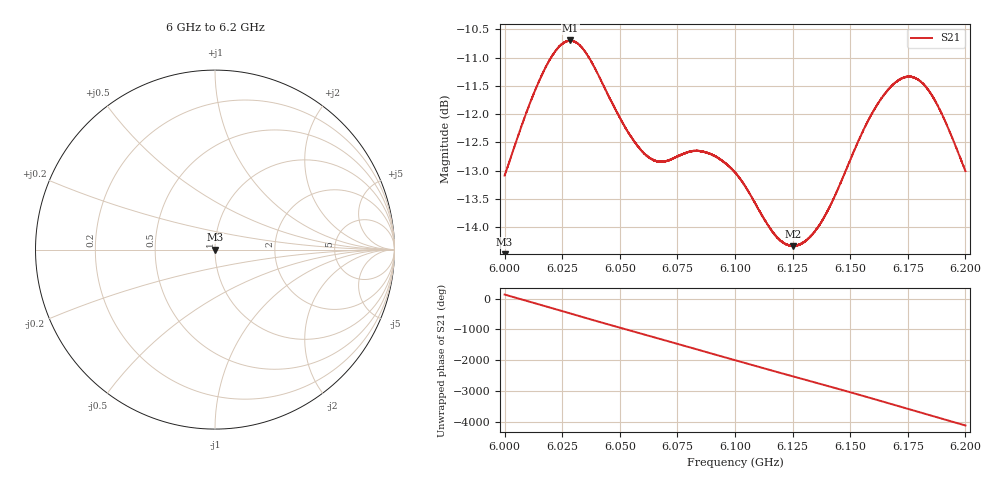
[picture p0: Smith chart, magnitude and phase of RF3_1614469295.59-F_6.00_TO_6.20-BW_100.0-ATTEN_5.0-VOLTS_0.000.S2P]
!Keysight Technologies,E5063A,MY54502693,A.05.04
!Date: Sat Feb 27 16:41:54 2021
!Data & Calibration Information:
!Freq	S11:NONE(--)	S21:NONE(--)	S12:NONE(--)	S22:NONE(--)
# Hz S RI R 50
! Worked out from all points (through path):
!   10000 points, 6 GHz to 6.2 GHz, reference 50 ohm
!   highest |S21| = -10.70 dB at 6.0285 GHz (marker M1); lowest = -14.3 dB at 6.1251 GHz (marker M2)
!   group delay of S21, straight-line fit = 58.8 ns
!   lowest |S11| = - dB at 6 GHz (marker M3), VSWR 1.00, Z = 50 + j0 ohm
!   |S11| at or under -10 dB: start of sweep to end of sweep
!   S12 and S22 are empty: the file has one direction only
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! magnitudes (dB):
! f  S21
! 6 GHz  -13.1
! 6.0105 GHz  -11.9
! 6.017 GHz  -11.2
! 6.0231 GHz  -10.8
! 6.0285 GHz  -10.7
! 6.0333 GHz  -10.8
! 6.0552 GHz  -12.4
! 6.061 GHz  -12.7
! 6.0667 GHz  -12.8
! 6.0848 GHz  -12.7
! 6.0919 GHz  -12.8
! 6.1 GHz  -13.0
! 6.1169 GHz  -14.1
! 6.1251 GHz  -14.3
! 6.1334 GHz  -14.1
! 6.1411 GHz  -13.6
! 6.1582 GHz  -12.1
! 6.1667 GHz  -11.6
! 6.1747 GHz  -11.3
! 6.182 GHz  -11.5
! 6.1891 GHz  -11.9
! 6.2 GHz  -13.0
